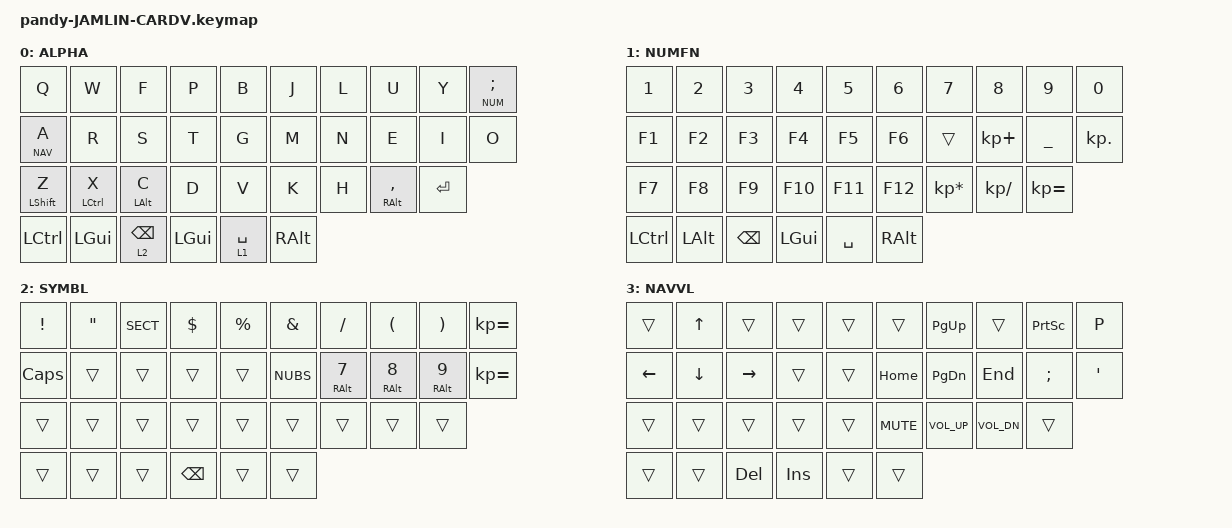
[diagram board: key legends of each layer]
/*
 * Copyright (c) 2020 The ZMK Contributors
 *
 * SPDX-License-Identifier: MIT
 */

#include <behaviors.dtsi>
#include <dt-bindings/zmk/keys.h>
#include <dt-bindings/zmk/bt.h>
#include <dt-bindings/zmk/outputs.h>

#define ALP 0
#define NUM 1
#define NAV 2
#define FUN 3

// Using layer taps on thumbs, having quick tap as well helps w/ repeating space/backspace
&lt { quick_tap_ms = <200>; };

/ {
    behaviors {
        hm: homerow_mods {
            compatible = "zmk,behavior-hold-tap";
            label = "homerow mods";
            #binding-cells = <2>;
            tapping-term-ms = <200>;
            flavor = "tap-preferred";
            bindings = <&kp>, <&kp>;
        };
    };
};

/ {
    macros {
        SECT: SECT {
            label = "SECT";
            compatible = "zmk,behavior-macro";
            #binding-cells = <0>;
            bindings
				= <&macro_tap &kp N0 &kp N0 &kp N0 &kp A &kp N7>
				, <&macro_press &kp LALT>
				, <&macro_tap &kp X>
				, <&macro_release &kp LALT>
			;
        };
    };
};

/ {
    keymap {
        compatible = "zmk,keymap";

        ALPHA {
            bindings = <
    &kp Q          &kp W          &kp F          &kp P          &kp B          &kp J          &kp L          &kp U          &kp Y       &lt NUM SEMI 
    &lt NAV A      &kp R          &kp S          &kp T          &kp G          &kp M          &kp N          &kp E          &kp I       &kp O
    &hm LSHFT Z    &hm LCTRL X    &hm LALT C     &kp D          &kp V          &kp K          &kp H          &hm RALT COMMA &kp RET
	&kp LCTRL      &kp LGUI       &lt 2 BSPC     &kp LGUI       &lt 1 SPACE    &kp RALT
            >;
        };
		
        NUMFN {
            bindings = <
    &kp N1     &kp N2    &kp N3    &kp N4    &kp N5     &kp N6    &kp N7           &kp N8        &kp N9         &kp N0
    &kp F1     &kp F2    &kp F3    &kp F4    &kp F5     &kp F6    &trans           &kp KP_PLUS   &kp UNDER      &kp KP_DOT
    &kp F7     &kp F8    &kp F9    &kp F10   &kp F11    &kp F12   &kp KP_ASTERISK  &kp KP_SLASH  &kp KP_EQUAL
	&kp LCTRL  &kp LALT  &kp BSPC  &kp LGUI  &kp SPACE  &kp RALT
            >;
        };
		
        SYMBL {
            bindings = <
    &kp EXCL  &kp DQT  &SECT   &kp DLLR  &kp PRCNT  &kp AMPS  &kp FSLH     &kp LPAR     &kp RPAR       &kp KP_EQUAL
    &kp CAPS  &trans   &trans  &trans    &trans     &kp NUBS  &mt RALT N7  &mt RALT N8  &mt RALT N9    &kp KP_EQUAL
    &trans    &trans   &trans  &trans    &trans     &trans    &trans       &trans       &trans
	&trans    &trans   &trans  &kp BSPC  &trans     &trans
            >;
        };
		
        NAVVL {
            bindings = <
    &trans    &kp UP    &trans     &trans   &trans  &trans      &kp PG_UP     &trans        &kp PSCRN  &kp P
    &kp LEFT  &kp DOWN  &kp RIGHT  &trans   &trans  &kp HOME    &kp PG_DN     &kp END       &kp SEMI   &kp SQT
    &trans    &trans    &trans     &trans   &trans  &kp C_MUTE  &kp C_VOL_UP  &kp C_VOL_DN  &trans
    &trans    &trans    &kp DEL    &kp INS  &trans  &trans
            >;
        };
    };
};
